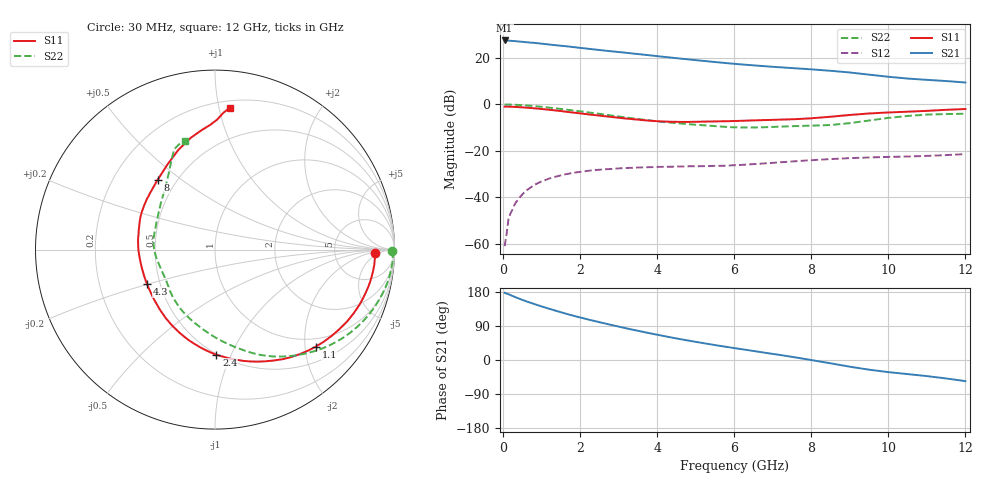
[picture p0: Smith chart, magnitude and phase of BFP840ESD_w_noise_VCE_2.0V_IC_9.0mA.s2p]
! Infineon Technologies  Discrete & RF Semiconductors
! BFP840ESD
! VCE =  2.0 V,  IC =  9.0 mA
! Common Emitter S-Parameters:  May 2012
# GHz  S  MA  R  50
!  f  S11  S21  S12  S22
! GHz  MAG  ANG  MAG  ANG  MAG  ANG  MAG  ANG
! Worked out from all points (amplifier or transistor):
!   93 points, 30 MHz to 12 GHz, reference 50 ohm
!   highest |S21| = 27.5 dB at 30 MHz (marker M1)
!   |S21| within 3 dB of that: start of sweep to 1.897 GHz
!   unconditionally stable (mu >= 1): 5.587 GHz to 9.478 GHz
!   at 1.1 GHz: K = 0.26, MSG = 29.1 dB, |S12| = -32.4 dB
!   at 4.2 GHz: K = 0.78, MSG = 23.6 dB, |S12| = -26.8 dB
!   at 12 GHz: K = 0.71, MSG = 15.4 dB, |S12| = -21.4 dB
!   lowest NFmin = 0.77 dB at 450 MHz
!   S11 on the Smith chart (normalised r, x): 30 MHz: 17, -3; 1.1 GHz: 0.81, -2.23; 2.4 GHz: 0.49, -0.88; 4.3 GHz: 0.42, -0.20; 8 GHz: 0.39, +0.41; 12 GHz: 0.25, +1.08
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0.03  0.8928 -1.2  23.59 177.4  0.0009 72.5  0.9859 -0.4
0.13  0.8916 -5.5  23.41 173.6  0.0034 79.4  0.991 -4.2
0.23  0.886 -9.7  23.05 169.2  0.0054 76.2  0.9849 -7.8
0.5  0.8623 -20.7  22.01 158.3  0.0119 75.0  0.9579 -16.6
0.8  0.8225 -32.6  20.93 147.7  0.0185 67.4  0.9165 -25.8
1.1  0.7797 -43.9  19.67 138.0  0.024 60.1  0.8673 -34.4
1.3  0.7487 -51.2  18.86 131.8  0.0273 56.1  0.8315 -39.9
1.6  0.6989 -62.2  17.84 122.9  0.0314 49.9  0.7774 -47.6
2.1  0.6246 -79.2  15.99 109.5  0.0365 41.9  0.6907 -59.6
2.4  0.5859 -89.2  14.99 102.1  0.0389 37.6  0.6411 -66.4
2.8  0.537 -102.5  13.82 92.5  0.041 32.7  0.5772 -74.9
3.2  0.4948 -116.0  12.78 83.4  0.043 29.0  0.5212 -83.8
3.7  0.4533 -132.9  11.54 72.7  0.0445 25.0  0.461 -95.7
4.1  0.4303 -146.6  10.63 64.6  0.0454 22.4  0.4235 -105.6
4.3  0.4246 -153.3  10.22 60.6  0.0458 21.4  0.4085 -110.5
5.2  0.4258 -179.0  8.577 44.3  0.0471 18.4  0.3553 -130.8
6.1  0.4413 163.3  7.309 29.9  0.0498 18.5  0.3205 -150.3
8  0.5028 129.5  5.646 -0.2  0.0632 13.2  0.3485 167.8
8.5  0.5422 119.4  5.261 -8.8  0.0668 10.1  0.3603 154.6
9.5  0.6375 102.2  4.347 -25.6  0.0723 3.3  0.4501 127.4
10.5  0.6961 92.1  3.583 -37.2  0.0759 -2.4  0.5636 115.2
12  0.7948 84.0  2.946 -55.8  0.0854 -9.0  0.6288 105.3
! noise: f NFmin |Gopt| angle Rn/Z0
0.45  0.77  0.3  2  0.14
0.9  0.78  0.3  5  0.14
1.5  0.79  0.3  11  0.13
1.9  0.8  0.3  15  0.13
2.4  0.81  0.25  26  0.12
3.5  0.82  0.17  58  0.1
5.5  0.9  0.11  136  0.1
8  1.05  0.3  -130  0.1
10  1.2  0.46  -91  0.18
12  1.41  0.6  -72  0.27
